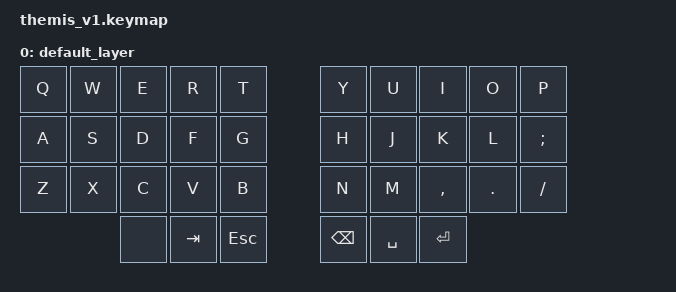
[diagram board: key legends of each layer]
#include <behaviors.dtsi>
#include <dt-bindings/zmk/keys.h>
#ifdef CONFIG_WIRELESS
  #include <dt-bindings/zmk/bt.h>
#endif

/ {
  keymap {
    compatible = "zmk,keymap";

    default_layer {
      bindings = <
        &kp Q     &kp W     &kp E     &kp R     &kp T     &kp Y     &kp U     &kp I     &kp O     &kp P
        &kp A     &kp S     &kp D     &kp F     &kp G     &kp H     &kp J     &kp K     &kp L     &kp SEMI
        &kp Z     &kp X     &kp C     &kp V     &kp B     &kp N     &kp M     &kp COMMA &kp DOT   &kp FSLH
                            &none     &kp TAB   &kp ESC   &kp BSPC  &kp SPACE &kp RET
      >;
    };
  };
};

